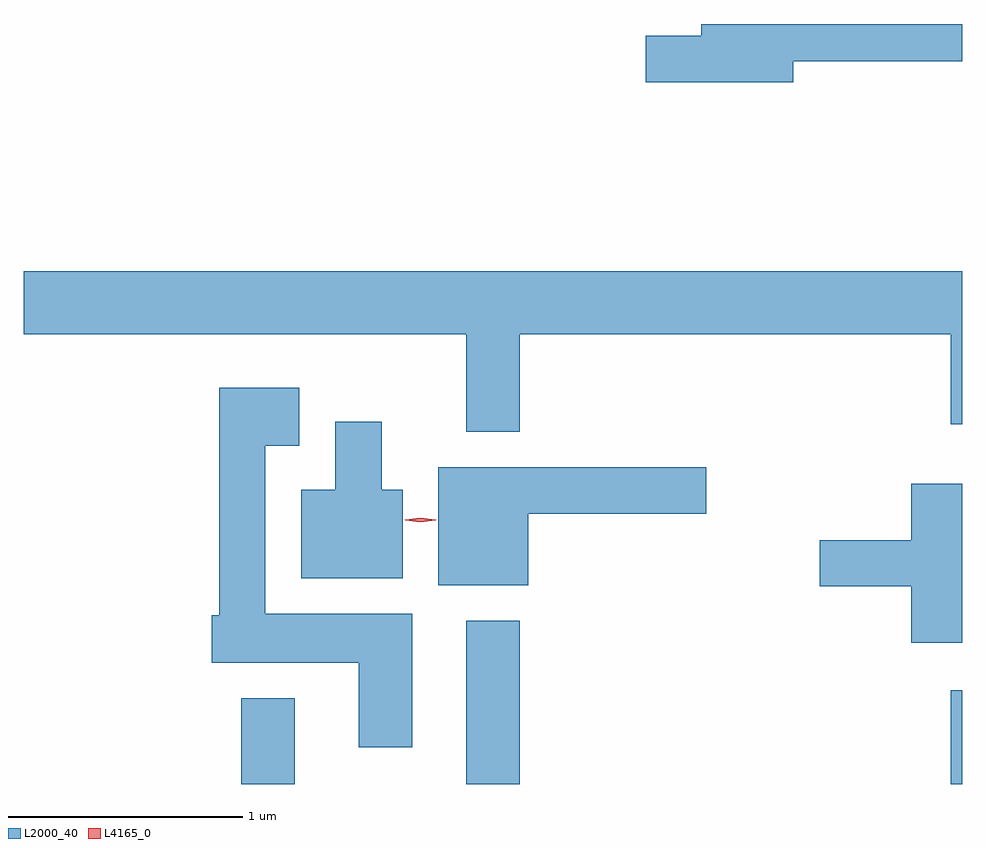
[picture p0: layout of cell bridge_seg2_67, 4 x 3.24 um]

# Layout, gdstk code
import gdstk
lib = gdstk.Library(unit=1e-6, precision=1e-09)
def R(c, l, rs):  # rectangles x0, y0, x1, y1
    for r in rs: c.add(gdstk.rectangle(r[:2], r[2:], *l))
def P(c, l, *ps):  # polygons
    for p in ps: c.add(gdstk.Polygon(p, *l))
L2000_40 = (2000, 40)
L4165_0 = (4165, 0)

bridge_seg2_67 = lib.new_cell('bridge_seg2_67')
R(bridge_seg2_67, L2000_40, [(1096.361,1066.379,1096.589,1066.744), (1097.321,1066.379,1097.549,1067.074), (1099.386,1066.379,1099.434,1066.778)])
P(bridge_seg2_67, L2000_40, [(1098.714,1069.461),(1099.434,1069.461),(1099.434,1069.619),(1098.321,1069.619),(1098.321,1069.569),(1098.086,1069.569),(1098.086,1069.371),(1098.714,1069.371)],
  [(1097.549,1068.296),(1099.386,1068.296),(1099.386,1067.913),(1099.434,1067.913),(1099.434,1068.564),(1095.434,1068.564),(1095.434,1068.296),(1097.321,1068.296),(1097.321,1067.881),(1097.549,1067.881)],
  [(1097.089,1067.104),(1096.464,1067.104),(1096.464,1067.821),(1096.609,1067.821),(1096.609,1068.069),(1096.266,1068.069),(1096.266,1067.099),(1096.236,1067.099),(1096.236,1066.896),(1096.861,1066.896),(1096.861,1066.536),(1097.089,1066.536)],
  [(1097.049,1067.634),(1096.959,1067.634),(1096.959,1067.924),(1096.761,1067.924),(1096.761,1067.634),(1096.616,1067.634),(1096.616,1067.256),(1097.049,1067.256)],
  [(1097.584,1067.531),(1098.344,1067.531),(1098.344,1067.729),(1097.201,1067.729),(1097.201,1067.226),(1097.584,1067.226)],
  [(1099.434,1067.659),(1099.216,1067.659),(1099.216,1067.419),(1098.826,1067.419),(1098.826,1067.221),(1099.216,1067.221),(1099.216,1066.981),(1099.434,1066.981)])
P(bridge_seg2_67, L4165_0, [(1097.124,1067.495),(1097.059,1067.504),(1097.058,1067.505),(1097.059,1067.505),(1097.124,1067.515),(1097.19,1067.505),(1097.191,1067.505),(1097.19,1067.504)])

lib.write_gds('bridge_seg2_67.gds')
